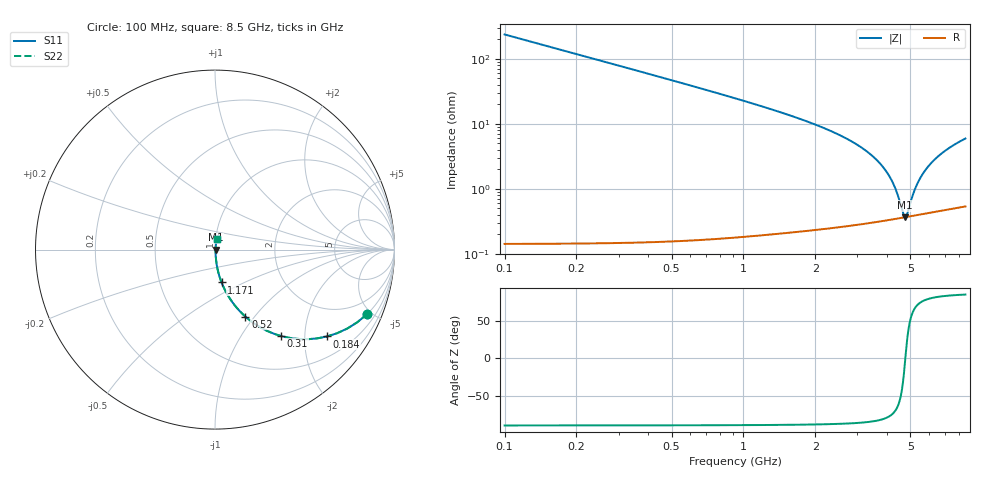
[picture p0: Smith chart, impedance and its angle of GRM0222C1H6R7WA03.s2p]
!Murata Part Number: GRM0222C1H6R7WA03
!These Parameters are Measured in Series Mode Connection
!Data Generated on Mar 30, 2021
!  o--ll--o
!Port1  Port2
!  o------o
!Operation Temp=25[degC], DC Bias Voltage=0[V]
!Freq. Start=100[MHz] Stop=9[GHz] 401[Steps]
# Hz S RI R 50
!Freq.(Hz) S11(Real) S11(Imag) S21(Real) S21(Imag) S12(Real) S12(Imag) S22(Real) S22(Imag)
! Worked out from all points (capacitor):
!   401 points, 100 MHz to 8.5 GHz, reference 50 ohm
!   read as one part in series: C = 6.7 pF near 142 MHz
!   lowest |Z| = 365 mohm at 4.762 GHz (marker M1)
!   series resonance near 4.765 GHz, so ESL is about 170 pH
!   S11 on the Smith chart (normalised r, x): 100 MHz: 1.00, -4.75; 184 MHz: 1.00, -2.58; 310 MHz: 1.00, -1.53; 520 MHz: 1.00, -0.90; 1.171 GHz: 1.00, -0.38; 8.5 GHz: 1.01, +0.12
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1e8  0.8492 -0.3576  0.1508 0.3576  0.1508 0.3576  0.8492 -0.3576
1.84e8  0.6241 -0.4838  0.3759 0.4838  0.3759 0.4838  0.6241 -0.4838
3.1e8  0.3681 -0.4813  0.6319 0.4813  0.6319 0.4813  0.3681 -0.4813
4.15e8  0.2444 -0.4284  0.7556 0.4284  0.7556 0.4284  0.2444 -0.4284
5.2e8  0.1699 -0.3738  0.8301 0.3738  0.8301 0.3738  0.1699 -0.3738
7.72e8  0.0834 -0.2737  0.9166 0.2737  0.9166 0.2737  0.0834 -0.2737
1.171e9  0.0366 -0.1828  0.9634 0.1828  0.9634 0.1828  0.0366 -0.1828
1.507e9  0.0215 -0.138  0.9785 0.138  0.9785 0.138  0.0215 -0.138
2.914e9  0.00527 -0.0502  0.9947 0.0502  0.9947 0.0502  0.00527 -0.0502
3.754e9  0.0037 -0.0236  0.9963 0.0236  0.9963 0.0236  0.0037 -0.0236
4.048e9  0.00354 -0.016  0.9965 0.016  0.9965 0.016  0.00354 -0.016
4.3e9  0.00351 -0.01  0.9965 0.01  0.9965 0.01  0.00351 -0.01
4.447e9  0.00353 -0.00675  0.9965 0.00675  0.9965 0.00675  0.00353 -0.00675
4.657e9  0.00359 -0.00224  0.9964 0.00224  0.9964 0.00224  0.00359 -0.00224
4.762e9  0.00364 -6.79e-05  0.9964 6.79e-05  0.9964 6.79e-05  0.00364 -6.79e-05
4.846e9  0.00368 0.00163  0.9963 -0.00163  0.9963 -0.00163  0.00368 0.00163
5.077e9  0.00383 0.00616  0.9962 -0.00616  0.9962 -0.00616  0.00383 0.00616
5.266e9  0.00398 0.00972  0.996 -0.00972  0.996 -0.00972  0.00398 0.00972
5.707e9  0.00441 0.0176  0.9956 -0.0176  0.9956 -0.0176  0.00441 0.0176
6.316e9  0.00515 0.0276  0.9948 -0.0276  0.9948 -0.0276  0.00515 0.0276
7.114e9  0.00632 0.0395  0.9937 -0.0395  0.9937 -0.0395  0.00632 0.0395
8.5e9  0.00874 0.0583  0.9913 -0.0583  0.9913 -0.0583  0.00874 0.0583
